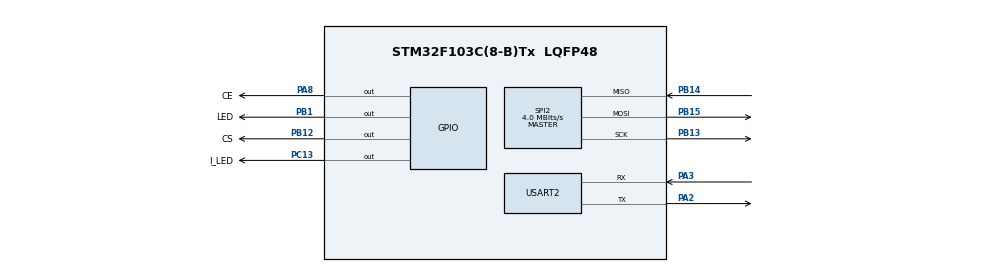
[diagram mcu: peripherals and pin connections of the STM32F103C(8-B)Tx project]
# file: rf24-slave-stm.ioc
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Mcu.Family=STM32F1
Mcu.Name=STM32F103C(8-B)Tx
Mcu.Package=LQFP48
NVIC.PriorityGroup=NVIC_PRIORITYGROUP_4
NVIC.SPI2_IRQn=true\:0\:0\:false\:false\:true\:true\:true\:true
PA13.Mode=Serial_Wire
PA13.Signal=SYS_JTMS-SWDIO
PA14.Mode=Serial_Wire
PA14.Signal=SYS_JTCK-SWCLK
PA2.Mode=Asynchronous
PA2.Signal=USART2_TX
PA3.Mode=Asynchronous
PA3.Signal=USART2_RX
PA8.GPIO_Label=CE
PA8.PinState=GPIO_PIN_SET
PA8.Signal=GPIO_Output
PB1.GPIO_Label=LED
PB1.Signal=GPIO_Output
PB12.GPIO_Label=CS
PB12.PinState=GPIO_PIN_SET
PB12.Signal=GPIO_Output
PB13.Mode=Full_Duplex_Master
PB13.Signal=SPI2_SCK
PB14.Mode=Full_Duplex_Master
PB14.Signal=SPI2_MISO
PB15.Mode=Full_Duplex_Master
PB15.Signal=SPI2_MOSI
PC13-TAMPER-RTC.GPIO_Label=I_LED
PC13-TAMPER-RTC.Signal=GPIO_Output
PC14-OSC32_IN.Mode=LSE-External-Oscillator
PC14-OSC32_IN.Signal=RCC_OSC32_IN
PC15-OSC32_OUT.Mode=LSE-External-Oscillator
PC15-OSC32_OUT.Signal=RCC_OSC32_OUT
PD0-OSC_IN.Mode=HSE-External-Oscillator
PD0-OSC_IN.Signal=RCC_OSC_IN
PD1-OSC_OUT.Mode=HSE-External-Oscillator
PD1-OSC_OUT.Signal=RCC_OSC_OUT
ProjectManager.HeapSize=0x200
ProjectManager.StackSize=0x400
ProjectManager.TargetToolchain=STM32CubeIDE
RCC.APB1Freq_Value=8000000
RCC.APB2Freq_Value=8000000
SPI2.CalculateBaudRate=4.0 MBits/s
SPI2.Direction=SPI_DIRECTION_2LINES
SPI2.Mode=SPI_MODE_MASTER
SPI2.VirtualType=VM_MASTER
USART2.VirtualMode=VM_ASYNC
board=custom

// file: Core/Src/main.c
/* USER CODE BEGIN Header */
/**
  ******************************************************************************
  * @file           : main.c
  * @brief          : Main program body
  ******************************************************************************
  * @attention
  *
  * Copyright (c) 2025 STMicroelectronics.
  * All rights reserved.
  *
  * This software is licensed under terms that can be found in the LICENSE file
  * in the root directory of this software component.
  * If no LICENSE file comes with this software, it is provided AS-IS.
  *
  ******************************************************************************
  */
/* USER CODE END Header */
#include "main.h"

/* USER CODE BEGIN Includes */
#include "rf24_lib.h"
/* USER CODE END Includes */

SPI_HandleTypeDef hspi2;

UART_HandleTypeDef huart2;

void SystemClock_Config(void);
static void MX_GPIO_Init(void);
static void MX_SPI2_Init(void);
static void MX_USART2_UART_Init(void);

/* USER CODE BEGIN 0 */
//debug with UART port
int _write(int file, char *ptr, int len)
{
    HAL_UART_Transmit(&huart2, (uint8_t*)ptr, len, HAL_MAX_DELAY);
    return len;
}

RF24_Handle rf_handle;

uint8_t rxAddress[] = {0x00,0x00,0x00,0x00,0x02};
uint8_t rxData[32];
uint8_t data[50];

/* USER CODE END 0 */

int main(void)
{

  /* MCU Configuration--------------------------------------------------------*/

  /* Reset of all peripherals, Initializes the Flash interface and the Systick. */
  HAL_Init();

  /* Configure the system clock */
  SystemClock_Config();

  /* Initialize all configured peripherals */
  MX_GPIO_Init();
  MX_SPI2_Init();
  MX_USART2_UART_Init();
  /* USER CODE BEGIN 2 */

  //========RF_CONFIGURATION==========
  rf_handle.cfg.cePin = CE_Pin;
  rf_handle.cfg.cePort = CE_GPIO_Port;
  rf_handle.cfg.csnPin = CS_Pin;
  rf_handle.cfg.csnPort = CS_GPIO_Port;
  rf_handle.cfg.hspi = &hspi2;

  rf_handle.dynamic_pay_load = false;

  //========END CONFIGURATION==========
  rf24_init(&rf_handle);

  rf_handle.channel = 12;
  rf24_rx_mode(&rf_handle, PIPE1, rxAddress);
  /* USER CODE END 2 */

  /* Infinite loop */
  while (1)
  {

    /* USER CODE BEGIN 3 */
	if (rf24_is_dataAvailable(&rf_handle, PIPE1))
	{
		rf24_read_data(&rf_handle, rxData, ONE_SECTION_BUF);
	}

	for (uint8_t index = 0; index < ONE_SECTION_BUF; index++)
	{
		printf("%02X ", rxData[index]);
	}
	printf("\r\n");
  }
  /* USER CODE END 3 */
}

void SystemClock_Config(void)
{
  RCC_OscInitTypeDef RCC_OscInitStruct = {0};
  RCC_ClkInitTypeDef RCC_ClkInitStruct = {0};

  /** Initializes the RCC Oscillators according to the specified parameters
  * in the RCC_OscInitTypeDef structure.
  */
  RCC_OscInitStruct.OscillatorType = RCC_OSCILLATORTYPE_HSI;
  RCC_OscInitStruct.HSIState = RCC_HSI_ON;
  RCC_OscInitStruct.HSICalibrationValue = RCC_HSICALIBRATION_DEFAULT;
  RCC_OscInitStruct.PLL.PLLState = RCC_PLL_NONE;
  if (HAL_RCC_OscConfig(&RCC_OscInitStruct) != HAL_OK)
  {
    Error_Handler();
  }

  /** Initializes the CPU, AHB and APB buses clocks
  */
  RCC_ClkInitStruct.ClockType = RCC_CLOCKTYPE_HCLK|RCC_CLOCKTYPE_SYSCLK
                              |RCC_CLOCKTYPE_PCLK1|RCC_CLOCKTYPE_PCLK2;
  RCC_ClkInitStruct.SYSCLKSource = RCC_SYSCLKSOURCE_HSI;
  RCC_ClkInitStruct.AHBCLKDivider = RCC_SYSCLK_DIV1;
  RCC_ClkInitStruct.APB1CLKDivider = RCC_HCLK_DIV1;
  RCC_ClkInitStruct.APB2CLKDivider = RCC_HCLK_DIV1;

  if (HAL_RCC_ClockConfig(&RCC_ClkInitStruct, FLASH_LATENCY_0) != HAL_OK)
  {
    Error_Handler();
  }
}

static void MX_SPI2_Init(void)
{

  /* SPI2 parameter configuration*/
  hspi2.Instance = SPI2;
  hspi2.Init.Mode = SPI_MODE_MASTER;
  hspi2.Init.Direction = SPI_DIRECTION_2LINES;
  hspi2.Init.DataSize = SPI_DATASIZE_8BIT;
  hspi2.Init.CLKPolarity = SPI_POLARITY_LOW;
  hspi2.Init.CLKPhase = SPI_PHASE_1EDGE;
  hspi2.Init.NSS = SPI_NSS_SOFT;
  hspi2.Init.BaudRatePrescaler = SPI_BAUDRATEPRESCALER_2;
  hspi2.Init.FirstBit = SPI_FIRSTBIT_MSB;
  hspi2.Init.TIMode = SPI_TIMODE_DISABLE;
  hspi2.Init.CRCCalculation = SPI_CRCCALCULATION_DISABLE;
  hspi2.Init.CRCPolynomial = 10;
  if (HAL_SPI_Init(&hspi2) != HAL_OK)
  {
    Error_Handler();
  }

}

static void MX_USART2_UART_Init(void)
{

  huart2.Instance = USART2;
  huart2.Init.BaudRate = 115200;
  huart2.Init.WordLength = UART_WORDLENGTH_8B;
  huart2.Init.StopBits = UART_STOPBITS_1;
  huart2.Init.Parity = UART_PARITY_NONE;
  huart2.Init.Mode = UART_MODE_TX_RX;
  huart2.Init.HwFlowCtl = UART_HWCONTROL_NONE;
  huart2.Init.OverSampling = UART_OVERSAMPLING_16;
  if (HAL_UART_Init(&huart2) != HAL_OK)
  {
    Error_Handler();
  }

}

static void MX_GPIO_Init(void)
{
  GPIO_InitTypeDef GPIO_InitStruct = {0};

  /* GPIO Ports Clock Enable */
  __HAL_RCC_GPIOC_CLK_ENABLE();
  __HAL_RCC_GPIOD_CLK_ENABLE();
  __HAL_RCC_GPIOA_CLK_ENABLE();
  __HAL_RCC_GPIOB_CLK_ENABLE();

  /*Configure GPIO pin Output Level */
  HAL_GPIO_WritePin(I_LED_GPIO_Port, I_LED_Pin, GPIO_PIN_RESET);

  /*Configure GPIO pin Output Level */
  HAL_GPIO_WritePin(LED_GPIO_Port, LED_Pin, GPIO_PIN_RESET);

  /*Configure GPIO pin Output Level */
  HAL_GPIO_WritePin(CS_GPIO_Port, CS_Pin, GPIO_PIN_SET);

  /*Configure GPIO pin Output Level */
  HAL_GPIO_WritePin(CE_GPIO_Port, CE_Pin, GPIO_PIN_SET);

  /*Configure GPIO pin : I_LED_Pin */
  GPIO_InitStruct.Pin = I_LED_Pin;
  GPIO_InitStruct.Mode = GPIO_MODE_OUTPUT_PP;
  GPIO_InitStruct.Pull = GPIO_NOPULL;
  GPIO_InitStruct.Speed = GPIO_SPEED_FREQ_LOW;
  HAL_GPIO_Init(I_LED_GPIO_Port, &GPIO_InitStruct);

  /*Configure GPIO pins : LED_Pin CS_Pin */
  GPIO_InitStruct.Pin = LED_Pin|CS_Pin;
  GPIO_InitStruct.Mode = GPIO_MODE_OUTPUT_PP;
  GPIO_InitStruct.Pull = GPIO_NOPULL;
  GPIO_InitStruct.Speed = GPIO_SPEED_FREQ_LOW;
  HAL_GPIO_Init(GPIOB, &GPIO_InitStruct);

  /*Configure GPIO pin : CE_Pin */
  GPIO_InitStruct.Pin = CE_Pin;
  GPIO_InitStruct.Mode = GPIO_MODE_OUTPUT_PP;
  GPIO_InitStruct.Pull = GPIO_NOPULL;
  GPIO_InitStruct.Speed = GPIO_SPEED_FREQ_LOW;
  HAL_GPIO_Init(CE_GPIO_Port, &GPIO_InitStruct);

}

void Error_Handler(void)
{
  __disable_irq();
  while (1)
  {
  }
}
